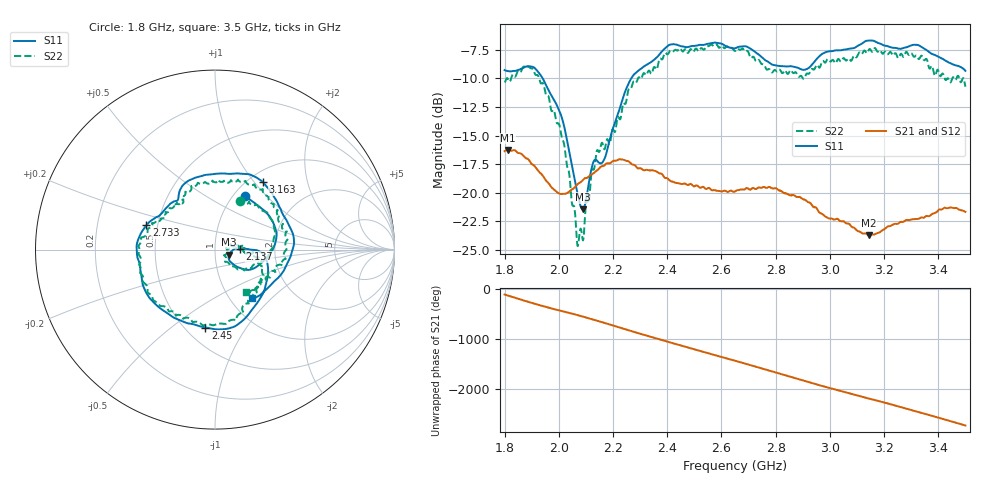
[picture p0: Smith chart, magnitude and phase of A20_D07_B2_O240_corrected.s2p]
! Created with skrf 1.9.0 (http://scikit-rf.org).
# Hz S RI R 50.0
!freq ReS11 ImS11 ReS21 ImS21 ReS12 ImS12 ReS22 ImS22
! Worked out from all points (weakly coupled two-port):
!   1601 points, 1.8 GHz to 3.5 GHz, reference 50 ohm
!   highest |S21| = -16.24 dB at 1.812 GHz (marker M1); lowest = -23.7 dB at 3.143 GHz (marker M2)
!   lowest |S11| = -21.4 dB at 2.089 GHz (marker M3), VSWR 1.18, Z = 58.5 - j3.43 ohm
!   |S11| at or under -10 dB: 1.941 GHz to 2.267 GHz (326.5 MHz wide, 15.5 % of centre)
!   |S22| runs from -24.7 to -7.0 dB; largest |S21 - S12| = 0.0028
!   S11 on the Smith chart (normalised r, x): 1.8 GHz: 1.12, +0.77; 2.137 GHz: 1.32, +0.01; 2.45 GHz: 0.62, -0.67; 2.733 GHz: 0.43, +0.14; 3.163 GHz: 1.16, +1.11; 3.5 GHz: 1.26, -0.77
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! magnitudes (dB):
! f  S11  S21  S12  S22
! 1.8 GHz  -9.3  -16.4  -16.4  -10.3
! 1.812 GHz  -9.4  -16.2  -16.2  -10.0
! 1.887 GHz  -9.0  -17.1  -17.1  -8.9
! 1.942 GHz  -10.1  -18.6  -18.6  -10.5
! 2.011 GHz  -13.5  -20.1  -20.1  -15.2
! 2.068 GHz  -19.9  -19.3  -19.3  -24.5
! 2.084 GHz  -21.3  -19.0  -19.0  -23.4
! 2.089 GHz  -21.4  -18.9  -18.9  -24.2
! 2.137 GHz  -17.1  -18.1  -18.1  -16.8
! 2.168 GHz  -17.1  -17.6  -17.6  -16.2
! 2.268 GHz  -10.0  -17.5  -17.4  -10.8
! 2.367 GHz  -8.0  -18.2  -18.2  -8.7
! 2.45 GHz  -7.2  -19.2  -19.2  -7.4
! 2.65 GHz  -7.4  -19.9  -19.8  -7.6
! 2.733 GHz  -7.8  -19.6  -19.6  -8.4
! 2.899 GHz  -9.2  -20.5  -20.5  -9.9
! 2.934 GHz  -8.8  -21.1  -21.1  -9.2
! 3.143 GHz  -6.7  -23.7  -23.6  -7.5
! 3.163 GHz  -6.7  -23.6  -23.6  -7.4
! 3.217 GHz  -7.2  -22.9  -22.9  -7.8
! 3.326 GHz  -7.1  -22.3  -22.3  -8.3
! 3.5 GHz  -9.3  -21.7  -21.7  -10.7
